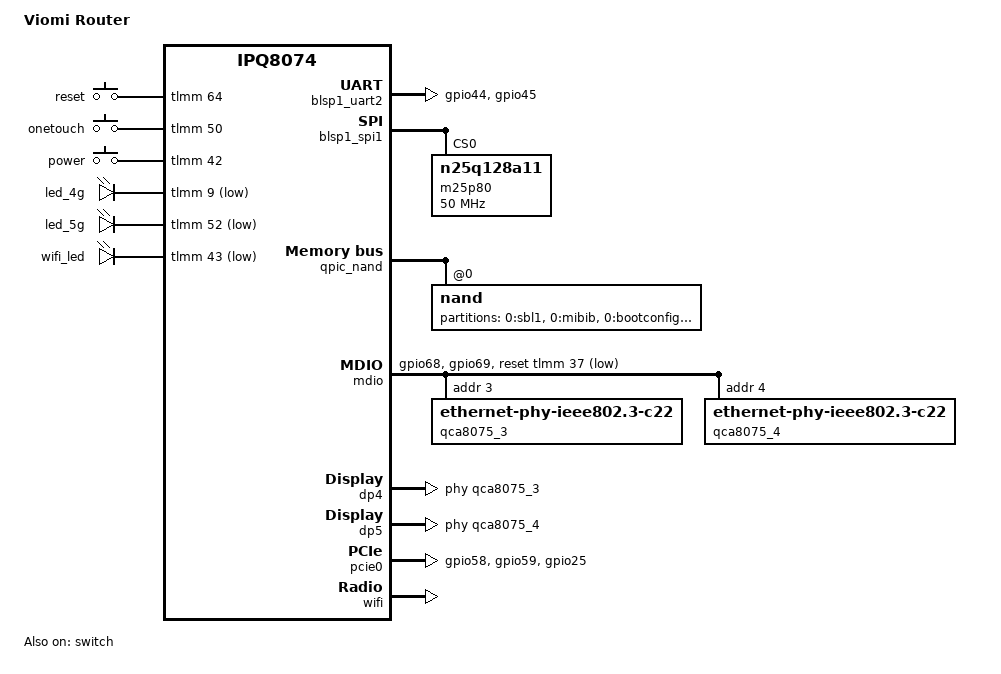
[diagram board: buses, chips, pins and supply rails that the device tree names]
// SPDX-License-Identifier: GPL-2.0-or-later OR MIT

/dts-v1/;

#include "ipq8074-512m.dtsi"
#include "ipq8074-hk-cpu.dtsi"
#include "ipq8074-ess.dtsi"
#include "ipq8074-nss.dtsi"
#include "ipq8074-common.dtsi"

/ {
	model = "Viomi Router";
	compatible = "night,viomi", "qcom,ipq8074";

	aliases {
		serial0 = &blsp1_uart5;
		serial1 = &blsp1_uart3;
		serial2 = &blsp1_uart2;

		ethernet1 = &dp4;
		ethernet2 = &dp5;

		label-mac-device = &dp4;
	};

	chosen {
		stdout-path = "serial0:115200n8";
		bootargs-append = " root=/dev/ubiblock0_1";
	};

	keys {
		compatible = "gpio-keys";
		pinctrl-0 = <&iot_pins>;
		pinctrl-names = "default";

		reset {
			label = "reset";
			gpios = <&tlmm 64 GPIO_ACTIVE_HIGH>;
			linux,code = <KEY_RESTART>;
			linux,input-type = <1>;
			debounce-interval = <60>;
		};

		onetouch {
			label = "onetouch";
			gpios = <&tlmm 50 GPIO_ACTIVE_HIGH>;
			linux,code = <BTN_0>;
			linux,input-type = <1>;
			debounce-interval = <60>;
		};

		power {
			label = "power";
			gpios = <&tlmm 42 GPIO_ACTIVE_HIGH>;
			linux,code = <KEY_POWER>;
			linux,input-type = <1>;
			debounce-interval = <60>;
		};
	};

	leds {
		compatible = "gpio-leds";
		pinctrl-0 = <&led_pins>;
		pinctrl-names = "default";

		led_4g: led-4g {
			default-state = "off";
			label = "led_4g";
			gpios = <&tlmm 9 GPIO_ACTIVE_LOW>;
		};

		led_5g: led-5g {
			default-state = "off";
			label = "led_5g";
			gpios = <&tlmm 52 GPIO_ACTIVE_LOW>;
		};

		wifi_led: led-wifi {
			default-state = "off";
			label = "wifi_led";
			gpios = <&tlmm 43 GPIO_ACTIVE_LOW>;
		};
	};
};

&soc {
	blsp1_uart2: serial@78b0000 {
		compatible = "qcom,msm-uartdm-v1.4", "qcom,msm-uartdm";
		reg = <0x078b0000 0x200>;
		interrupts = <GIC_SPI 108 IRQ_TYPE_LEVEL_HIGH>;
		clocks = <&gcc GCC_BLSP1_UART2_APPS_CLK>,
				<&gcc GCC_BLSP1_AHB_CLK>;
		clock-names = "core", "iface";
		pinctrl-0 = <&serial_2_pins>;
		pinctrl-names = "default";
		status = "okay";
	};
};

&tlmm {
	mdio_pins: mdio-pins {
		mdc {
			pins = "gpio68";
			function = "mdc";
			drive-strength = <8>;
			bias-pull-up;
		};

		mdio {
			pins = "gpio69";
			function = "mdio";
			drive-strength = <8>;
			bias-pull-up;
		};
	};

	iot_pins: iot_pins {
		onetouch_button {
			pins = "gpio50";
			function = "gpio";
			drive-strength = <8>;
			bias-disable;
		};

		power_button {
			pins = "gpio42";
			function = "gpio";
			drive-strength = <8>;
			bias-disable;
		};

		reset_button {
			pins = "gpio64";
			function = "gpio";
			drive-strength = <8>;
			bias-disable;
		};
	};

	led_pins: led_pins {
		4g_led {
			bias-pull-down;
			drive-strength = <8>;
			function = "gpio";
			pins = "gpio9";
		};

		5g_led {
			bias-pull-down;
			drive-strength = <8>;
			function = "gpio";
			pins = "gpio52";
		};

		wifi_led {
			bias-pull-down;
			drive-strength = <8>;
			function = "gpio";
			pins = "gpio43";
		};

		ble_reset {
			bias-disable;
			drive-strength = <8>;
			function = "gpio";
			pins = "gpio0";
		};
	};

	pcie_pins: pcie_pins {
		pcie0_rst {
			bias-pull-down;
			drive-strength = <8>;
			function = "pcie0_rst";
			pins = "gpio58";
		};

		pcie0_wake {
			bias-pull-down;
			drive-strength = <8>;
			function = "pcie0_wake";
			pins = "gpio59";
		};
	};

	rg500_pins: rg500_pins {
		mux_2 {
			bias-pull-up;
			function = "gpio";
			output-high;
			pins = "gpio25";
		};
	};

	serial_2_pins: serial_2_pins {
		mux {
			bias-disable;
			function = "blsp2_uart";
			output-high;
			pins = "gpio44", "gpio45";
		};
	};
};

&blsp1_spi1 {
	cs-select = <0>;
	status = "okay";

	m25p80@0 {
		#address-cells = <1>;
		#size-cells = <1>;
		reg = <0>;
		compatible = "n25q128a11";
		linux,modalias = "m25p80", "n25q128a11";
		spi-max-frequency = <50000000>;
		use-default-sizes;
	};
};

&qpic_nand {
	status = "okay";

	partitions {
		status = "disabled";
	};

	nand@0 {
		reg = <0>;
		nand-ecc-strength = <8>;
		nand-ecc-step-size = <512>;
		nand-bus-width = <8>;

		partitions {
			compatible = "fixed-partitions";
			#address-cells = <1>;
			#size-cells = <1>;

			partition@0 {
				label = "0:sbl1";
				reg = <0x0 0x100000>;
				read-only;
			};

			partition@100000 {
				label = "0:mibib";
				reg = <0x100000 0x100000>;
				read-only;
			};

			partition@200000 {
				label = "0:bootconfig";
				reg = <0x200000 0x80000>;
				read-only;
			};

			partition@280000 {
				label = "0:bootconfig1";
				reg = <0x280000 0x80000>;
				read-only;
			};

			partition@300000 {
				label = "0:qsee_1";
				reg = <0x300000 0x300000>;
				read-only;
			};

			partition@600000 {
				label = "0:qsee";
				reg = <0x600000 0x300000>;
				read-only;
			};

			partition@900000 {
				label = "0:devcfg_1";
				reg = <0x900000 0x80000>;
				read-only;
			};

			partition@980000 {
				label = "0:devcfg";
				reg = <0x980000 0x80000>;
				read-only;
			};

			partition@a00000 {
				label = "0:apdp";
				reg = <0xa00000 0x80000>;
				read-only;
			};

			partition@a80000 {
				label = "0:apdp_1";
				reg = <0xa80000 0x80000>;
				read-only;
			};

			partition@b00000 {
				label = "0:rpm_1";
				reg = <0xb00000 0x80000>;
				read-only;
			};

			partition@b80000 {
				label = "0:rpm";
				reg = <0xb80000 0x80000>;
				read-only;
			};

			partition@c00000 {
				label = "0:cdt_1";
				reg = <0xc00000 0x80000>;
				read-only;
			};

			partition@c80000 {
				label = "0:cdt";
				reg = <0xc80000 0x80000>;
				read-only;
			};

			partition@d00000 {
				label = "0:appsblenv";
				reg = <0xd00000 0x80000>;
			};

			partition@d80000 {
				label = "0:appsbl_1";
				reg = <0xd80000 0x100000>;
				read-only;
			};

			partition@e80000 {
				label = "0:appsbl";
				reg = <0xe80000 0x100000>;
				read-only;
			};

			partition@f80000 {
				label = "0:art";
				reg = <0xf80000 0x80000>;
				read-only;
			};

			partition@1000000 {
				label = "rootfs_1";
				reg = <0x1000000 0x4500000>;
			};

			partition@5500000 {
				label = "0:wififw_1";
				reg = <0x5500000 0x900000>;
				read-only;
			};

			partition@5e00000 {
				label = "rootfs";
				reg = <0x5e00000 0x4500000>;
			};

			partition@a300000 {
				label = "0:wififw";
				reg = <0xa300000 0x900000>;
				read-only;
			};

			partition@ac00000 {
				label = "0:ethphyfw";
				reg = <0xac00000 0x80000>;
				read-only;
			};
		};
	};
};

&mdio {
	status = "okay";
	pinctrl-0 = <&mdio_pins>;
	pinctrl-names = "default";
	reset-gpios = <&tlmm 37 GPIO_ACTIVE_LOW>;

	qca8075_3: ethernet-phy@3 {
		compatible = "ethernet-phy-ieee802.3-c22";
		reg = <3>;
	};

	qca8075_4: ethernet-phy@4 {
		compatible = "ethernet-phy-ieee802.3-c22";
		reg = <4>;
	};
};

&switch {
	status = "okay";
	switch_lan_bmp = <(ESS_PORT4 | ESS_PORT5)>;
	switch_mac_mode = <MAC_MODE_QSGMII>;

	qcom,port_phyinfo {
		port@4 {
			port_id = <4>;
			phy_address = <3>;
		};
		port@5 {
			port_id = <5>;
			phy_address = <4>;
		};
	};
};

&edma {
	status = "okay";
};

&dp4 {
	status = "okay";
	phy-handle = <&qca8075_3>;
	label = "lan1";
};

&dp5 {
	status = "okay";
	phy-handle = <&qca8075_4>;
	label = "lan2";
};

&pcie0 {
	status = "okay";
	pinctrl-0 = <&pcie_pins>, <&rg500_pins>;
	pinctrl-names = "default";
	perst-gpio = <&tlmm 58 GPIO_ACTIVE_HIGH>;
};

&wifi {
	status = "okay";
	qcom,ath11k-calibration-variant = "Night-Viomi";
	qcom,ath11k-fw-memory-mode = <1>;
};
